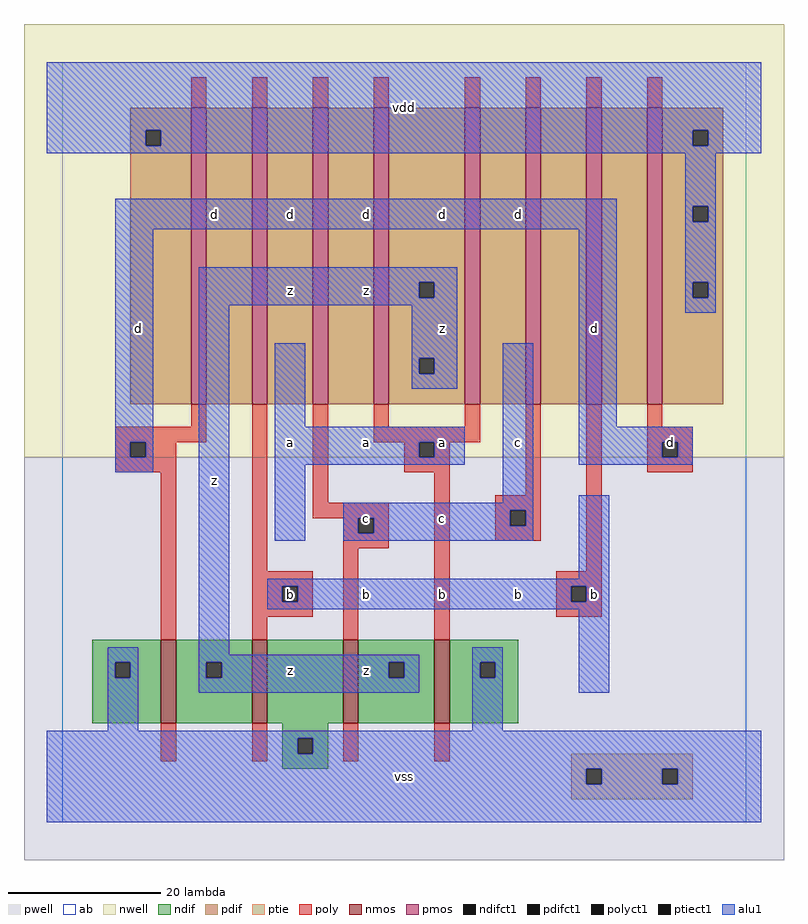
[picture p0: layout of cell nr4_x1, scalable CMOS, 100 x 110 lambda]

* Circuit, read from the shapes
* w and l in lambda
.subckt nr4_x1 a b c d vdd vss z
M1 z d vss vss nfet w=11 l=2
M2 vss b z vss nfet w=11 l=2
M3 z c vss vss nfet w=11 l=2
M4 vss a z vss nfet w=11 l=2
M5 n1 d vdd n2 pfet w=39 l=2
M6 n3 b n1 n2 pfet w=39 l=2
M7 n4 c n3 n2 pfet w=39 l=2
M8 z a n4 n2 pfet w=39 l=2
M9 n5 a z n2 pfet w=39 l=2
M10 n6 c n5 n2 pfet w=39 l=2
M11 n7 b n6 n2 pfet w=39 l=2
M12 vdd d n7 n2 pfet w=39 l=2
.ends

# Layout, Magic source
magic
tech scmos
<< ab >>
rect 0 0 90 100
<< nwell >>
rect -5 48 95 105
<< pwell >>
rect -5 -5 95 48
<< poly >>
rect 17 94 19 98
rect 25 94 27 98
rect 33 94 35 98
rect 41 94 43 98
rect 53 94 55 98
rect 61 94 63 98
rect 69 94 71 98
rect 77 94 79 98
rect 17 52 19 55
rect 7 50 19 52
rect 7 48 9 50
rect 11 48 15 50
rect 7 46 15 48
rect 13 24 15 46
rect 25 33 27 55
rect 33 42 35 55
rect 41 52 43 55
rect 53 52 55 55
rect 41 50 55 52
rect 45 48 47 50
rect 49 48 51 50
rect 45 46 51 48
rect 33 40 43 42
rect 37 38 39 40
rect 41 38 43 40
rect 37 36 43 38
rect 25 31 33 33
rect 25 29 29 31
rect 31 29 33 31
rect 25 27 33 29
rect 25 24 27 27
rect 37 24 39 36
rect 49 24 51 46
rect 61 43 63 55
rect 57 41 63 43
rect 57 39 59 41
rect 61 39 63 41
rect 57 37 63 39
rect 69 33 71 55
rect 77 52 79 55
rect 77 50 83 52
rect 77 48 79 50
rect 81 48 83 50
rect 77 46 83 48
rect 65 31 71 33
rect 65 29 67 31
rect 69 29 71 31
rect 65 27 71 29
rect 13 8 15 13
rect 25 8 27 13
rect 37 8 39 13
rect 49 8 51 13
<< ndif >>
rect 4 21 13 24
rect 4 19 7 21
rect 9 19 13 21
rect 4 13 13 19
rect 15 21 25 24
rect 15 19 19 21
rect 21 19 25 21
rect 15 13 25 19
rect 27 13 37 24
rect 39 21 49 24
rect 39 19 43 21
rect 45 19 49 21
rect 39 13 49 19
rect 51 21 60 24
rect 51 19 55 21
rect 57 19 60 21
rect 51 13 60 19
rect 29 11 35 13
rect 29 9 31 11
rect 33 9 35 11
rect 29 7 35 9
<< pdif >>
rect 9 91 17 94
rect 9 89 11 91
rect 13 89 17 91
rect 9 55 17 89
rect 19 55 25 94
rect 27 55 33 94
rect 35 55 41 94
rect 43 71 53 94
rect 43 69 47 71
rect 49 69 53 71
rect 43 61 53 69
rect 43 59 47 61
rect 49 59 53 61
rect 43 55 53 59
rect 55 55 61 94
rect 63 55 69 94
rect 71 55 77 94
rect 79 91 87 94
rect 79 89 83 91
rect 85 89 87 91
rect 79 81 87 89
rect 79 79 83 81
rect 85 79 87 81
rect 79 71 87 79
rect 79 69 83 71
rect 85 69 87 71
rect 79 55 87 69
<< alu1 >>
rect -2 91 92 100
rect -2 89 11 91
rect 13 89 83 91
rect 85 89 92 91
rect -2 88 92 89
rect 7 78 73 82
rect 7 50 12 78
rect 7 48 9 50
rect 11 48 12 50
rect 7 46 12 48
rect 18 71 52 73
rect 18 69 47 71
rect 49 69 52 71
rect 18 68 52 69
rect 6 21 10 23
rect 6 19 7 21
rect 9 19 10 21
rect 6 12 10 19
rect 18 22 22 68
rect 28 52 32 63
rect 46 61 52 68
rect 46 59 47 61
rect 49 59 52 61
rect 46 57 52 59
rect 28 50 53 52
rect 28 48 47 50
rect 49 48 53 50
rect 28 47 53 48
rect 28 37 32 47
rect 58 42 62 63
rect 68 52 73 78
rect 82 81 86 88
rect 82 79 83 81
rect 85 79 86 81
rect 82 71 86 79
rect 82 69 83 71
rect 85 69 86 71
rect 82 67 86 69
rect 68 50 83 52
rect 68 48 79 50
rect 81 48 83 50
rect 68 47 83 48
rect 37 41 62 42
rect 37 40 59 41
rect 37 38 39 40
rect 41 39 59 40
rect 61 39 62 41
rect 41 38 62 39
rect 37 37 62 38
rect 68 32 72 43
rect 27 31 72 32
rect 27 29 29 31
rect 31 29 67 31
rect 69 29 72 31
rect 27 28 72 29
rect 18 21 47 22
rect 18 19 19 21
rect 21 19 43 21
rect 45 19 47 21
rect 18 17 47 19
rect 54 21 58 23
rect 54 19 55 21
rect 57 19 58 21
rect 54 12 58 19
rect 68 17 72 28
rect -2 11 92 12
rect -2 9 31 11
rect 33 9 92 11
rect -2 7 92 9
rect -2 5 69 7
rect 71 5 79 7
rect 81 5 92 7
rect -2 0 92 5
<< ptie >>
rect 67 7 83 9
rect 67 5 69 7
rect 71 5 79 7
rect 81 5 83 7
rect 67 3 83 5
<< nmos >>
rect 13 13 15 24
rect 25 13 27 24
rect 37 13 39 24
rect 49 13 51 24
<< pmos >>
rect 17 55 19 94
rect 25 55 27 94
rect 33 55 35 94
rect 41 55 43 94
rect 53 55 55 94
rect 61 55 63 94
rect 69 55 71 94
rect 77 55 79 94
<< polyct1 >>
rect 9 48 11 50
rect 47 48 49 50
rect 39 38 41 40
rect 29 29 31 31
rect 59 39 61 41
rect 79 48 81 50
rect 67 29 69 31
<< ndifct1 >>
rect 7 19 9 21
rect 19 19 21 21
rect 43 19 45 21
rect 55 19 57 21
rect 31 9 33 11
<< ptiect1 >>
rect 69 5 71 7
rect 79 5 81 7
<< pdifct1 >>
rect 11 89 13 91
rect 47 69 49 71
rect 47 59 49 61
rect 83 89 85 91
rect 83 79 85 81
rect 83 69 85 71
<< labels >>
rlabel alu1 10 65 10 65 6 d
rlabel alu1 30 20 30 20 6 z
rlabel polyct1 30 30 30 30 6 b
rlabel alu1 20 45 20 45 6 z
rlabel alu1 30 50 30 50 6 a
rlabel alu1 30 70 30 70 6 z
rlabel alu1 30 80 30 80 6 d
rlabel alu1 20 80 20 80 6 d
rlabel alu1 45 6 45 6 6 vss
rlabel alu1 40 20 40 20 6 z
rlabel alu1 40 30 40 30 6 b
rlabel alu1 50 30 50 30 6 b
rlabel alu1 50 40 50 40 6 c
rlabel alu1 40 40 40 40 6 c
rlabel alu1 50 50 50 50 6 a
rlabel alu1 40 50 40 50 6 a
rlabel alu1 40 70 40 70 6 z
rlabel alu1 50 65 50 65 6 z
rlabel alu1 50 80 50 80 6 d
rlabel alu1 40 80 40 80 6 d
rlabel alu1 45 94 45 94 6 vdd
rlabel alu1 70 30 70 30 6 b
rlabel alu1 60 30 60 30 6 b
rlabel alu1 60 50 60 50 6 c
rlabel alu1 70 65 70 65 6 d
rlabel alu1 60 80 60 80 6 d
rlabel alu1 80 50 80 50 6 d
<< end >>
